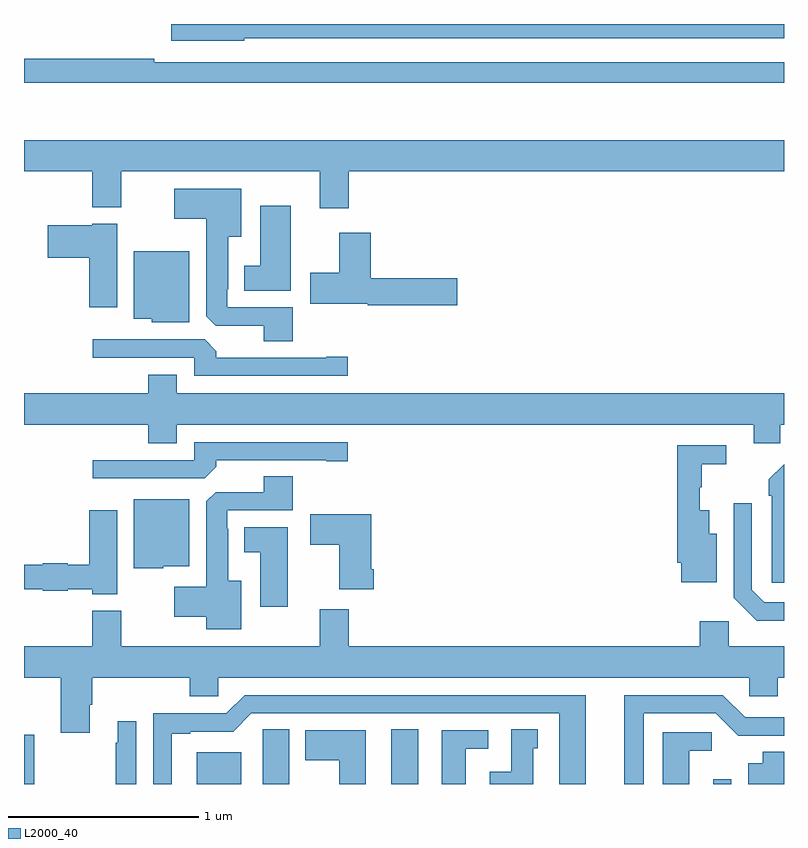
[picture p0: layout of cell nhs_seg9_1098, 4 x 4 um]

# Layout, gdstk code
import gdstk
lib = gdstk.Library(unit=1e-6, precision=1e-09)
def R(c, l, rs):  # rectangles x0, y0, x1, y1
    for r in rs: c.add(gdstk.rectangle(r[:2], r[2:], *l))
def P(c, l, *ps):  # polygons
    for p in ps: c.add(gdstk.Polygon(p, *l))
L2000_40 = (2000, 40)

nhs_seg9_1098 = lib.new_cell('nhs_seg9_1098')
R(nhs_seg9_1098, L2000_40, [(171,1222.5,171.054,1222.759), (171.908,1222.5,172.144,1222.666), (172.934,1222.5,173.074,1222.787), (174.627,1222.5,174.723,1222.525)])
P(nhs_seg9_1098, L2000_40, [(172.158,1226.424),(175,1226.424),(175,1226.5),(171.774,1226.5),(171.774,1226.411),(172.158,1226.411)],
  [(175,1226.298),(171.686,1226.298),(171.686,1226.318),(171,1226.318),(171,1226.19),(175,1226.19)],
  [(172.709,1225.724),(175,1225.724),(175,1225.888),(171,1225.888),(171,1225.724),(171.359,1225.724),(171.359,1225.535),(171.511,1225.535),(171.511,1225.724),(172.556,1225.724),(172.556,1225.53),(172.709,1225.53)],
  [(172.415,1225.008),(172.071,1225.008),(172.071,1225.105),(172.075,1225.105),(172.075,1225.379),(172.144,1225.379),(172.144,1225.633),(171.792,1225.633),(171.792,1225.475),(171.959,1225.475),(171.959,1224.961),(172.008,1224.912),(172.262,1224.912),(172.262,1224.829),(172.415,1224.829)],
  [(172.405,1225.543),(172.244,1225.543),(172.244,1225.228),(172.16,1225.228),(172.16,1225.097),(172.405,1225.097)],
  [(171.49,1225.45),(171.36,1225.45),(171.36,1225.441),(171.126,1225.441),(171.126,1225.271),(171.344,1225.271),(171.344,1225.008),(171.49,1225.008)],
  [(173.281,1225.163),(172.826,1225.163),(172.826,1225.402),(172.658,1225.402),(172.658,1225.191),(172.506,1225.191),(172.506,1225.028),(172.809,1225.028),(172.809,1225.021),(173.281,1225.021)],
  [(171.871,1225.303),(171.578,1225.303),(171.578,1224.95),(171.672,1224.95),(171.672,1224.929),(171.871,1224.929)],
  [(172.705,1224.749),(172.592,1224.749),(172.592,1224.744),(172.013,1224.744),(172.013,1224.778),(171.951,1224.84),(171.363,1224.84),(171.363,1224.744),(171.897,1224.744),(171.897,1224.648),(172.705,1224.648)],
  [(171.805,1224.392),(174.842,1224.392),(174.842,1224.294),(174.981,1224.294),(174.981,1224.392),(175,1224.392),(175,1224.556),(171.805,1224.556),(171.805,1224.655),(171.653,1224.655),(171.653,1224.556),(171,1224.556),(171,1224.392),(171.653,1224.392),(171.653,1224.293),(171.805,1224.293)],
  [(172.013,1224.17),(172.013,1224.204),(172.592,1224.204),(172.592,1224.199),(172.705,1224.199),(172.705,1224.3),(171.897,1224.3),(171.897,1224.204),(171.363,1224.204),(171.363,1224.108),(171.951,1224.108)],
  [(174.646,1223.818),(174.607,1223.818),(174.607,1223.941),(174.557,1223.941),(174.557,1224.063),(174.568,1224.063),(174.568,1224.184),(174.697,1224.184),(174.697,1224.282),(174.439,1224.282),(174.439,1223.665),(174.458,1223.665),(174.458,1223.561),(174.646,1223.561)],
  [(175,1224.184),(174.921,1224.105),(174.921,1224.017),(174.936,1224.017),(174.936,1223.559),(175,1223.559)],
  [(172.144,1223.569),(172.075,1223.569),(172.075,1223.843),(172.071,1223.843),(172.071,1223.94),(172.415,1223.94),(172.415,1224.119),(172.262,1224.119),(172.262,1224.036),(172.008,1224.036),(171.959,1223.987),(171.959,1223.539),(171.792,1223.539),(171.792,1223.381),(171.959,1223.381),(171.959,1223.315),(172.144,1223.315)],
  [(171.732,1223.645),(171.871,1223.645),(171.871,1223.998),(171.578,1223.998),(171.578,1223.636),(171.732,1223.636)],
  [(175,1223.457),(174.897,1223.457),(174.831,1223.523),(174.831,1223.977),(174.735,1223.977),(174.735,1223.481),(174.856,1223.36),(175,1223.36)],
  [(171.49,1223.941),(171.344,1223.941),(171.344,1223.655),(171.23,1223.655),(171.23,1223.662),(171.099,1223.662),(171.099,1223.654),(171,1223.654),(171,1223.526),(171.099,1223.526),(171.099,1223.518),(171.23,1223.518),(171.23,1223.525),(171.36,1223.525),(171.36,1223.498),(171.49,1223.498)],
  [(172.841,1223.629),(172.828,1223.629),(172.828,1223.92),(172.506,1223.92),(172.506,1223.758),(172.658,1223.758),(172.658,1223.525),(172.841,1223.525)],
  [(172.387,1223.851),(172.16,1223.851),(172.16,1223.72),(172.244,1223.72),(172.244,1223.433),(172.387,1223.433)],
  [(171.346,1222.918),(171.359,1222.918),(171.359,1223.06),(171.872,1223.06),(171.872,1222.962),(172.023,1222.962),(172.023,1223.06),(174.816,1223.06),(174.816,1222.962),(174.968,1222.962),(174.968,1223.06),(175,1223.06),(175,1223.224),(174.708,1223.224),(174.708,1223.356),(174.557,1223.356),(174.557,1223.224),(172.709,1223.224),(172.709,1223.419),(172.556,1223.419),(172.556,1223.224),(171.511,1223.224),(171.511,1223.413),(171.359,1223.413),(171.359,1223.224),(171,1223.224),(171,1223.06),(171.194,1223.06),(171.194,1222.77),(171.346,1222.77)],
  [(171.778,1222.764),(171.874,1222.764),(171.874,1222.776),(172.101,1222.776),(172.197,1222.872),(173.816,1222.872),(173.816,1222.5),(173.956,1222.5),(173.956,1222.968),(172.161,1222.968),(172.065,1222.872),(171.681,1222.872),(171.681,1222.5),(171.778,1222.5)],
  [(174.262,1222.872),(174.642,1222.872),(174.76,1222.754),(174.856,1222.754),(174.856,1222.755),(175,1222.755),(175,1222.851),(174.795,1222.851),(174.678,1222.968),(174.158,1222.968),(174.158,1222.5),(174.262,1222.5)],
  [(171.591,1222.831),(171.494,1222.831),(171.494,1222.718),(171.483,1222.718),(171.483,1222.5),(171.591,1222.5)],
  [(173.68,1222.689),(173.704,1222.689),(173.704,1222.787),(173.564,1222.787),(173.564,1222.564),(173.45,1222.564),(173.45,1222.5),(173.68,1222.5)],
  [(172.396,1222.787),(172.257,1222.787),(172.257,1222.676),(172.256,1222.676),(172.256,1222.5),(172.396,1222.5)],
  [(172.798,1222.783),(172.481,1222.783),(172.481,1222.624),(172.658,1222.624),(172.658,1222.5),(172.798,1222.5)],
  [(173.326,1222.686),(173.443,1222.686),(173.443,1222.782),(173.198,1222.782),(173.198,1222.5),(173.326,1222.5)],
  [(174.502,1222.676),(174.619,1222.676),(174.619,1222.773),(174.362,1222.773),(174.362,1222.5),(174.502,1222.5)],
  [(175,1222.67),(174.887,1222.67),(174.887,1222.609),(174.812,1222.609),(174.812,1222.5),(175,1222.5)])

lib.write_gds('nhs_seg9_1098.gds')
